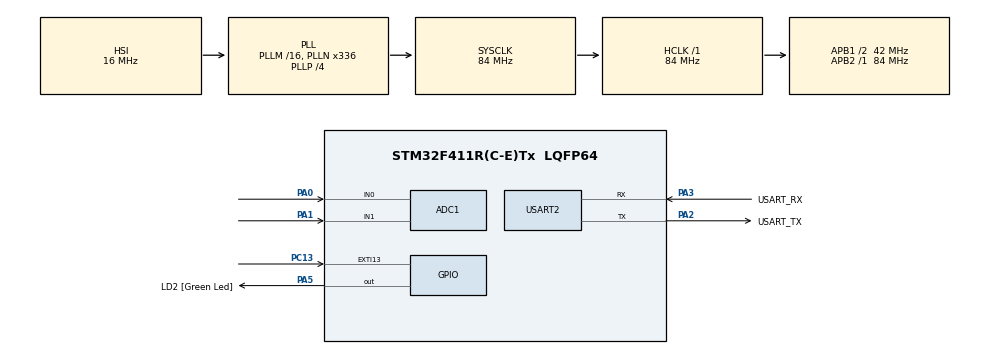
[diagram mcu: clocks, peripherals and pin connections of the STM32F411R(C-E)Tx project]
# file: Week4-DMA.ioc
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ADC1.Channel-0\#ChannelRegularConversion=ADC_CHANNEL_0
ADC1.Channel-1\#ChannelRegularConversion=ADC_CHANNEL_1
ADC1.Channel-2\#ChannelRegularConversion=ADC_CHANNEL_TEMPSENSOR
ADC1.Channel-3\#ChannelRegularConversion=ADC_CHANNEL_VREFINT
ADC1.ContinuousConvMode=ENABLE
ADC1.DMAContinuousRequests=ENABLE
ADC1.InjNumberOfConversion=0
ADC1.NbrOfConversion=4
ADC1.NbrOfConversionFlag=1
ADC1.Rank-0\#ChannelRegularConversion=1
ADC1.Rank-1\#ChannelRegularConversion=2
ADC1.Rank-2\#ChannelRegularConversion=3
ADC1.Rank-3\#ChannelRegularConversion=4
ADC1.SamplingTime-0\#ChannelRegularConversion=ADC_SAMPLETIME_144CYCLES
ADC1.SamplingTime-1\#ChannelRegularConversion=ADC_SAMPLETIME_144CYCLES
ADC1.SamplingTime-2\#ChannelRegularConversion=ADC_SAMPLETIME_144CYCLES
ADC1.SamplingTime-3\#ChannelRegularConversion=ADC_SAMPLETIME_144CYCLES
ADC1.master=1
Dma.ADC1.0.Direction=DMA_PERIPH_TO_MEMORY
Dma.ADC1.0.FIFOMode=DMA_FIFOMODE_DISABLE
Dma.ADC1.0.Instance=DMA2_Stream0
Dma.ADC1.0.MemDataAlignment=DMA_MDATAALIGN_WORD
Dma.ADC1.0.MemInc=DMA_MINC_ENABLE
Dma.ADC1.0.Mode=DMA_CIRCULAR
Dma.ADC1.0.PeriphDataAlignment=DMA_PDATAALIGN_WORD
Dma.ADC1.0.PeriphInc=DMA_PINC_DISABLE
Dma.ADC1.0.Priority=DMA_PRIORITY_LOW
Dma.Request0=ADC1
Mcu.Family=STM32F4
Mcu.Name=STM32F411R(C-E)Tx
Mcu.Package=LQFP64
NVIC.DMA2_Stream0_IRQn=true\:0\:0\:false\:false\:true\:false\:true
NVIC.EXTI15_10_IRQn=true\:0\:0\:false\:false\:true\:true\:true
NVIC.PriorityGroup=NVIC_PRIORITYGROUP_0
PA0-WKUP.Signal=ADCx_IN0
PA1.Signal=ADCx_IN1
PA13.GPIO_Label=TMS
PA13.Mode=Serial_Wire
PA13.Signal=SYS_JTMS-SWDIO
PA14.GPIO_Label=TCK
PA14.Mode=Serial_Wire
PA14.Signal=SYS_JTCK-SWCLK
PA2.GPIO_Label=USART_TX
PA2.Mode=Asynchronous
PA2.Signal=USART2_TX
PA3.GPIO_Label=USART_RX
PA3.Mode=Asynchronous
PA3.Signal=USART2_RX
PA5.GPIO_Label=LD2 [Green Led]
PA5.GPIO_PuPd=GPIO_NOPULL
PA5.Signal=GPIO_Output
PB3.GPIO_Label=SWO
PB3.Signal=SYS_JTDO-SWO
PC13-ANTI_TAMP.GPIO_ModeDefaultEXTI=GPIO_MODE_IT_FALLING
PC13-ANTI_TAMP.GPIO_PuPd=GPIO_PULLUP
PC13-ANTI_TAMP.Signal=GPXTI13
PC14-OSC32_IN.Mode=LSE-External-Oscillator
PC14-OSC32_IN.Signal=RCC_OSC32_IN
PC15-OSC32_OUT.Mode=LSE-External-Oscillator
PC15-OSC32_OUT.Signal=RCC_OSC32_OUT
PH0\ -\ OSC_IN.Mode=HSE-External-Clock-Source
PH0\ -\ OSC_IN.Signal=RCC_OSC_IN
PH1\ -\ OSC_OUT.Mode=HSE-External-Clock-Source
PH1\ -\ OSC_OUT.Signal=RCC_OSC_OUT
ProjectManager.HeapSize=0x200
ProjectManager.StackSize=0x400
ProjectManager.TargetToolchain=STM32CubeIDE
RCC.48MHZClocksFreq_Value=84000000
RCC.AHBFreq_Value=84000000
RCC.APB1CLKDivider=RCC_HCLK_DIV2
RCC.APB1Freq_Value=42000000
RCC.APB1TimFreq_Value=84000000
RCC.APB2Freq_Value=84000000
RCC.APB2TimFreq_Value=84000000
RCC.CortexFreq_Value=84000000
RCC.FLatency-AdvancedSettings=FLASH_LATENCY_2
RCC.HCLKFreq_Value=84000000
RCC.HSE_VALUE=8000000
RCC.HSI_VALUE=16000000
RCC.PLLN=336
RCC.PLLP=RCC_PLLP_DIV4
RCC.SYSCLKFreq_VALUE=84000000
RCC.SYSCLKSource=RCC_SYSCLKSOURCE_PLLCLK
RCC.VCOOutputFreq_Value=336000000
SH.ADCx_IN0.0=ADC1_IN0,IN0
SH.ADCx_IN1.0=ADC1_IN1,IN1
USART2.VirtualMode=VM_ASYNC
VP_ADC1_TempSens_Input.Mode=IN-TempSens
VP_ADC1_Vref_Input.Mode=IN-Vrefint
board=NUCLEO-F411RE

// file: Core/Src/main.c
/* USER CODE BEGIN Header */
/**
  ******************************************************************************
  * @file           : main.c
  * @brief          : Main program body
  ******************************************************************************
  * @attention
  *
  * <h2><center>&copy; Copyright (c) 2021 STMicroelectronics.
  * All rights reserved.</center></h2>
  *
  * This software component is licensed by ST under BSD 3-Clause license,
  * the "License"; You may not use this file except in compliance with the
  * License. You may obtain a copy of the License at:
  *                        opensource.org/licenses/BSD-3-Clause
  *
  ******************************************************************************
  */
/* USER CODE END Header */
#include "main.h"

ADC_HandleTypeDef hadc1;
DMA_HandleTypeDef hdma_adc1;

UART_HandleTypeDef huart2;

/* USER CODE BEGIN PV */
int StartGame = 1;
GPIO_PinState Switchz[1];
uint32_t TimeStamp = 0;
uint32_t TimeResponse = 0;
uint32_t RandomTime = 0;
uint32_t ADCData[4]={0};
/* USER CODE END PV */

void SystemClock_Config(void);
static void MX_GPIO_Init(void);
static void MX_DMA_Init(void);
static void MX_USART2_UART_Init(void);
static void MX_ADC1_Init(void);
/* USER CODE BEGIN PFP */
void GameResponds();
/* USER CODE END PFP */

int main(void)
{

  /* MCU Configuration--------------------------------------------------------*/

  /* Reset of all peripherals, Initializes the Flash interface and the Systick. */
  HAL_Init();

  /* Configure the system clock */
  SystemClock_Config();

  /* Initialize all configured peripherals */
  MX_GPIO_Init();
  MX_DMA_Init();
  MX_USART2_UART_Init();
  MX_ADC1_Init();
  /* USER CODE BEGIN 2 */
  HAL_ADC_Start_DMA(&hadc1, ADCData, 4);
  HAL_GPIO_WritePin(LD2_GPIO_Port, LD2_Pin,1);
  /* USER CODE END 2 */

  /* Infinite loop */
  while (1)
  {

    /* USER CODE BEGIN 3 */
	  GameResponds();
  }
  /* USER CODE END 3 */
}

void SystemClock_Config(void)
{
  RCC_OscInitTypeDef RCC_OscInitStruct = {0};
  RCC_ClkInitTypeDef RCC_ClkInitStruct = {0};

  /** Configure the main internal regulator output voltage
  */
  __HAL_RCC_PWR_CLK_ENABLE();
  __HAL_PWR_VOLTAGESCALING_CONFIG(PWR_REGULATOR_VOLTAGE_SCALE1);
  /** Initializes the RCC Oscillators according to the specified parameters
  * in the RCC_OscInitTypeDef structure.
  */
  RCC_OscInitStruct.OscillatorType = RCC_OSCILLATORTYPE_HSI;
  RCC_OscInitStruct.HSIState = RCC_HSI_ON;
  RCC_OscInitStruct.HSICalibrationValue = RCC_HSICALIBRATION_DEFAULT;
  RCC_OscInitStruct.PLL.PLLState = RCC_PLL_ON;
  RCC_OscInitStruct.PLL.PLLSource = RCC_PLLSOURCE_HSI;
  RCC_OscInitStruct.PLL.PLLM = 16;
  RCC_OscInitStruct.PLL.PLLN = 336;
  RCC_OscInitStruct.PLL.PLLP = RCC_PLLP_DIV4;
  RCC_OscInitStruct.PLL.PLLQ = 4;
  if (HAL_RCC_OscConfig(&RCC_OscInitStruct) != HAL_OK)
  {
    Error_Handler();
  }
  /** Initializes the CPU, AHB and APB buses clocks
  */
  RCC_ClkInitStruct.ClockType = RCC_CLOCKTYPE_HCLK|RCC_CLOCKTYPE_SYSCLK
                              |RCC_CLOCKTYPE_PCLK1|RCC_CLOCKTYPE_PCLK2;
  RCC_ClkInitStruct.SYSCLKSource = RCC_SYSCLKSOURCE_PLLCLK;
  RCC_ClkInitStruct.AHBCLKDivider = RCC_SYSCLK_DIV1;
  RCC_ClkInitStruct.APB1CLKDivider = RCC_HCLK_DIV2;
  RCC_ClkInitStruct.APB2CLKDivider = RCC_HCLK_DIV1;

  if (HAL_RCC_ClockConfig(&RCC_ClkInitStruct, FLASH_LATENCY_2) != HAL_OK)
  {
    Error_Handler();
  }
}

static void MX_ADC1_Init(void)
{

  ADC_ChannelConfTypeDef sConfig = {0};

  /** Configure the global features of the ADC (Clock, Resolution, Data Alignment and number of conversion)
  */
  hadc1.Instance = ADC1;
  hadc1.Init.ClockPrescaler = ADC_CLOCK_SYNC_PCLK_DIV4;
  hadc1.Init.Resolution = ADC_RESOLUTION_12B;
  hadc1.Init.ScanConvMode = ENABLE;
  hadc1.Init.ContinuousConvMode = ENABLE;
  hadc1.Init.DiscontinuousConvMode = DISABLE;
  hadc1.Init.ExternalTrigConvEdge = ADC_EXTERNALTRIGCONVEDGE_NONE;
  hadc1.Init.ExternalTrigConv = ADC_SOFTWARE_START;
  hadc1.Init.DataAlign = ADC_DATAALIGN_RIGHT;
  hadc1.Init.NbrOfConversion = 4;
  hadc1.Init.DMAContinuousRequests = ENABLE;
  hadc1.Init.EOCSelection = ADC_EOC_SINGLE_CONV;
  if (HAL_ADC_Init(&hadc1) != HAL_OK)
  {
    Error_Handler();
  }
  /** Configure for the selected ADC regular channel its corresponding rank in the sequencer and its sample time.
  */
  sConfig.Channel = ADC_CHANNEL_0;
  sConfig.Rank = 1;
  sConfig.SamplingTime = ADC_SAMPLETIME_144CYCLES;
  if (HAL_ADC_ConfigChannel(&hadc1, &sConfig) != HAL_OK)
  {
    Error_Handler();
  }
  /** Configure for the selected ADC regular channel its corresponding rank in the sequencer and its sample time.
  */
  sConfig.Channel = ADC_CHANNEL_1;
  sConfig.Rank = 2;
  if (HAL_ADC_ConfigChannel(&hadc1, &sConfig) != HAL_OK)
  {
    Error_Handler();
  }
  /** Configure for the selected ADC regular channel its corresponding rank in the sequencer and its sample time.
  */
  sConfig.Channel = ADC_CHANNEL_TEMPSENSOR;
  sConfig.Rank = 3;
  if (HAL_ADC_ConfigChannel(&hadc1, &sConfig) != HAL_OK)
  {
    Error_Handler();
  }
  /** Configure for the selected ADC regular channel its corresponding rank in the sequencer and its sample time.
  */
  sConfig.Channel = ADC_CHANNEL_VREFINT;
  sConfig.Rank = 4;
  if (HAL_ADC_ConfigChannel(&hadc1, &sConfig) != HAL_OK)
  {
    Error_Handler();
  }

}

static void MX_USART2_UART_Init(void)
{

  huart2.Instance = USART2;
  huart2.Init.BaudRate = 115200;
  huart2.Init.WordLength = UART_WORDLENGTH_8B;
  huart2.Init.StopBits = UART_STOPBITS_1;
  huart2.Init.Parity = UART_PARITY_NONE;
  huart2.Init.Mode = UART_MODE_TX_RX;
  huart2.Init.HwFlowCtl = UART_HWCONTROL_NONE;
  huart2.Init.OverSampling = UART_OVERSAMPLING_16;
  if (HAL_UART_Init(&huart2) != HAL_OK)
  {
    Error_Handler();
  }

}

static void MX_DMA_Init(void)
{

  /* DMA controller clock enable */
  __HAL_RCC_DMA2_CLK_ENABLE();

  /* DMA interrupt init */
  /* DMA2_Stream0_IRQn interrupt configuration */
  HAL_NVIC_SetPriority(DMA2_Stream0_IRQn, 0, 0);
  HAL_NVIC_EnableIRQ(DMA2_Stream0_IRQn);

}

static void MX_GPIO_Init(void)
{
  GPIO_InitTypeDef GPIO_InitStruct = {0};

  /* GPIO Ports Clock Enable */
  __HAL_RCC_GPIOC_CLK_ENABLE();
  __HAL_RCC_GPIOH_CLK_ENABLE();
  __HAL_RCC_GPIOA_CLK_ENABLE();
  __HAL_RCC_GPIOB_CLK_ENABLE();

  /*Configure GPIO pin Output Level */
  HAL_GPIO_WritePin(LD2_GPIO_Port, LD2_Pin, GPIO_PIN_RESET);

  /*Configure GPIO pin : PC13 */
  GPIO_InitStruct.Pin = GPIO_PIN_13;
  GPIO_InitStruct.Mode = GPIO_MODE_IT_FALLING;
  GPIO_InitStruct.Pull = GPIO_PULLUP;
  HAL_GPIO_Init(GPIOC, &GPIO_InitStruct);

  /*Configure GPIO pin : LD2_Pin */
  GPIO_InitStruct.Pin = LD2_Pin;
  GPIO_InitStruct.Mode = GPIO_MODE_OUTPUT_PP;
  GPIO_InitStruct.Pull = GPIO_NOPULL;
  GPIO_InitStruct.Speed = GPIO_SPEED_FREQ_LOW;
  HAL_GPIO_Init(LD2_GPIO_Port, &GPIO_InitStruct);

  /* EXTI interrupt init*/
  HAL_NVIC_SetPriority(EXTI15_10_IRQn, 0, 0);
  HAL_NVIC_EnableIRQ(EXTI15_10_IRQn);

}

/* USER CODE BEGIN 4 */
void HAL_GPIO_EXTI_Callback(uint16_t GPIO_Pin)
{
	if(GPIO_Pin == GPIO_PIN_13)
	{
		TimeResponse = 0;
		HAL_GPIO_WritePin(LD2_GPIO_Port, LD2_Pin,0);
		TimeStamp = HAL_GetTick();
		RandomTime = 1000+((22695477*ADCData[0])+ADCData[1])%10000;
		StartGame++;
	}

}
void GameResponds(){
	if(StartGame == 2){
		Switchz[0] = HAL_GPIO_ReadPin(GPIOC, GPIO_PIN_13);
		if((HAL_GetTick() - TimeStamp >= RandomTime)&&(Switchz[0]== 0 &&Switchz[1]== 0)){
			HAL_GPIO_WritePin(LD2_GPIO_Port, LD2_Pin,1);
		}
		if((HAL_GetTick() - TimeStamp >= RandomTime)&&(Switchz[0]== 1 &&Switchz[1]== 1)){
			TimeResponse = HAL_GetTick() - TimeStamp - RandomTime;
			StartGame = 1;
		}
		Switchz[1] = Switchz[0];
	}
}

/* USER CODE END 4 */

void Error_Handler(void)
{
  __disable_irq();
  while (1)
  {
  }
}

/************************ (C) COPYRIGHT STMicroelectronics *****END OF FILE****/
